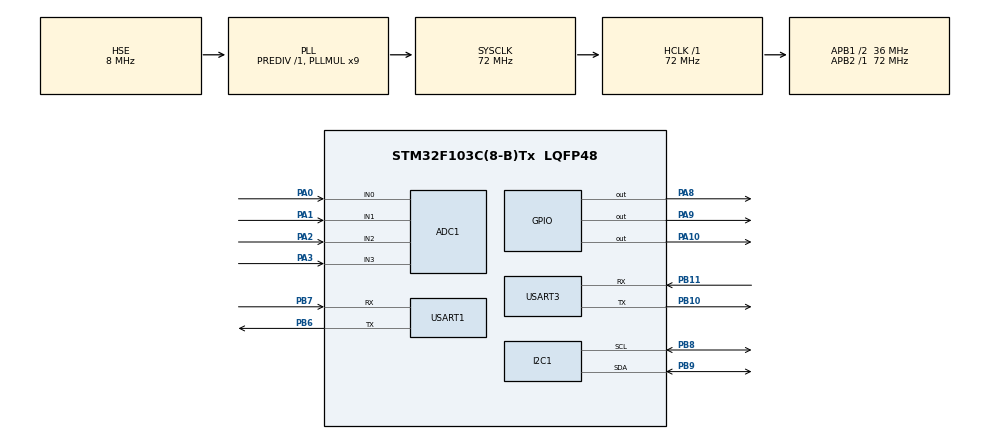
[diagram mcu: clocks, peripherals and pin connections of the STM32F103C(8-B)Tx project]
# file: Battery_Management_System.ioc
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ADC1.Channel-10\#ChannelRegularConversion=ADC_CHANNEL_1
ADC1.Channel-11\#ChannelRegularConversion=ADC_CHANNEL_2
ADC1.Channel-12\#ChannelRegularConversion=ADC_CHANNEL_3
ADC1.Channel-9\#ChannelRegularConversion=ADC_CHANNEL_0
ADC1.NbrOfConversion=4
ADC1.NbrOfConversionFlag=1
ADC1.Rank-10\#ChannelRegularConversion=2
ADC1.Rank-11\#ChannelRegularConversion=3
ADC1.Rank-12\#ChannelRegularConversion=4
ADC1.Rank-9\#ChannelRegularConversion=1
ADC1.SamplingTime-10\#ChannelRegularConversion=ADC_SAMPLETIME_13CYCLES_5
ADC1.SamplingTime-11\#ChannelRegularConversion=ADC_SAMPLETIME_13CYCLES_5
ADC1.SamplingTime-12\#ChannelRegularConversion=ADC_SAMPLETIME_13CYCLES_5
ADC1.SamplingTime-9\#ChannelRegularConversion=ADC_SAMPLETIME_13CYCLES_5
ADC1.master=1
Dma.ADC1.0.Direction=DMA_PERIPH_TO_MEMORY
Dma.ADC1.0.Instance=DMA1_Channel1
Dma.ADC1.0.MemDataAlignment=DMA_MDATAALIGN_WORD
Dma.ADC1.0.MemInc=DMA_MINC_ENABLE
Dma.ADC1.0.Mode=DMA_CIRCULAR
Dma.ADC1.0.PeriphDataAlignment=DMA_PDATAALIGN_WORD
Dma.ADC1.0.PeriphInc=DMA_PINC_DISABLE
Dma.ADC1.0.Priority=DMA_PRIORITY_LOW
Dma.Request0=ADC1
FREERTOS.Queues01=myQueue01,16,uint32_t,0,Dynamic,NULL,NULL;myQueue02,16,uint16_t,0,Dynamic,NULL,NULL
FREERTOS.Tasks01=readADC_Task,0,128,StartDefaultTask,Default,NULL,Dynamic,NULL,NULL;display_Task,0,128,StartTask02,Default,NULL,Dynamic,NULL,NULL;ctrlBMS_Task,0,128,StartTask03,Default,NULL,Dynamic,NULL,NULL;comUART_Task,0,128,StartTask04,Default,NULL,Dynamic,NULL,NULL
FREERTOS.configUSE_NEWLIB_REENTRANT=1
Mcu.Family=STM32F1
Mcu.Name=STM32F103C(8-B)Tx
Mcu.Package=LQFP48
NVIC.DMA1_Channel1_IRQn=true\:5\:0\:false\:false\:true\:true\:false\:true\:true
NVIC.PriorityGroup=NVIC_PRIORITYGROUP_4
PA0-WKUP.Signal=ADCx_IN0
PA1.Signal=ADCx_IN1
PA10.Signal=GPIO_Output
PA13.Mode=Serial_Wire
PA13.Signal=SYS_JTMS-SWDIO
PA14.Mode=Serial_Wire
PA14.Signal=SYS_JTCK-SWCLK
PA2.Signal=ADCx_IN2
PA3.Signal=ADCx_IN3
PA8.Signal=GPIO_Output
PA9.Signal=GPIO_Output
PB10.Mode=Asynchronous
PB10.Signal=USART3_TX
PB11.Mode=Asynchronous
PB11.Signal=USART3_RX
PB6.Mode=Asynchronous
PB6.Signal=USART1_TX
PB7.Mode=Asynchronous
PB7.Signal=USART1_RX
PB8.Mode=I2C
PB8.Signal=I2C1_SCL
PB9.Mode=I2C
PB9.Signal=I2C1_SDA
PD0-OSC_IN.Mode=HSE-External-Oscillator
PD0-OSC_IN.Signal=RCC_OSC_IN
PD1-OSC_OUT.Mode=HSE-External-Oscillator
PD1-OSC_OUT.Signal=RCC_OSC_OUT
ProjectManager.HeapSize=0x200
ProjectManager.StackSize=0x400
ProjectManager.TargetToolchain=STM32CubeIDE
RCC.ADCPresc=RCC_ADCPCLK2_DIV6
RCC.AHBFreq_Value=72000000
RCC.APB1CLKDivider=RCC_HCLK_DIV2
RCC.APB1Freq_Value=36000000
RCC.APB1TimFreq_Value=72000000
RCC.APB2Freq_Value=72000000
RCC.APB2TimFreq_Value=72000000
RCC.HCLKFreq_Value=72000000
RCC.PLLMUL=RCC_PLL_MUL9
RCC.PLLSourceVirtual=RCC_PLLSOURCE_HSE
RCC.SYSCLKFreq_VALUE=72000000
RCC.SYSCLKSource=RCC_SYSCLKSOURCE_PLLCLK
RCC.USBFreq_Value=72000000
SH.ADCx_IN0.0=ADC1_IN0,IN0
SH.ADCx_IN1.0=ADC1_IN1,IN1
SH.ADCx_IN2.0=ADC1_IN2,IN2
SH.ADCx_IN3.0=ADC1_IN3,IN3
USART1.VirtualMode=VM_ASYNC
USART3.VirtualMode=VM_ASYNC
VP_FREERTOS_VS_CMSIS_V1.Mode=CMSIS_V1
board=custom

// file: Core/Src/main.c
/* USER CODE BEGIN Header */
/**
  ******************************************************************************
  * @file           : main.c
  * @brief          : Main program body
  ******************************************************************************
  * @attention
  *
  * Copyright (c) 2024 STMicroelectronics.
  * All rights reserved.
  *
  * This software is licensed under terms that can be found in the LICENSE file
  * in the root directory of this software component.
  * If no LICENSE file comes with this software, it is provided AS-IS.
  *
  ******************************************************************************
  */
/* USER CODE END Header */
#include "main.h"
#include "cmsis_os.h"

/* USER CODE BEGIN Includes */
#include <stdio.h>
#include "ssd1306.h"
#include <ssd1306_fonts.h>
#include <stdbool.h>
#include <stdlib.h>
#include <string.h>
/* USER CODE END Includes */

/* USER CODE BEGIN PD */
#define MAX_LENGTH_BFF 4
/* USER CODE END PD */

ADC_HandleTypeDef hadc1;
DMA_HandleTypeDef hdma_adc1;

I2C_HandleTypeDef hi2c1;

UART_HandleTypeDef huart1;
UART_HandleTypeDef huart3;

osThreadId readADC_TaskHandle;
osThreadId display_TaskHandle;
osThreadId ctrlBMS_TaskHandle;
osThreadId comUART_TaskHandle;
osMessageQId myQueue01Handle;
osMessageQId myQueue02Handle;
/* USER CODE BEGIN PV */

int i = 0;
float x;
char xBff[MAX_LENGTH_BFF];
float scaleValue[4];
uint32_t ADC_Value[4];

float ratio_VSS = 0.1885964912;
float ratio_VSI = 0.5;

char charValue_1[MAX_LENGTH_BFF];
char charValue_2[MAX_LENGTH_BFF];
char charValue_3[MAX_LENGTH_BFF];
char charValue_4[MAX_LENGTH_BFF];
/* USER CODE END PV */

void SystemClock_Config(void);
static void MX_GPIO_Init(void);
static void MX_DMA_Init(void);
static void MX_ADC1_Init(void);
static void MX_I2C1_Init(void);
static void MX_USART1_UART_Init(void);
static void MX_USART3_UART_Init(void);
void StartDefaultTask(void const * argument);
void StartTask02(void const * argument);
void StartTask03(void const * argument);
void StartTask04(void const * argument);

int main(void)
{

  /* MCU Configuration--------------------------------------------------------*/

  /* Reset of all peripherals, Initializes the Flash interface and the Systick. */
  HAL_Init();

  /* Configure the system clock */
  SystemClock_Config();

  /* Initialize all configured peripherals */
  MX_GPIO_Init();
  MX_DMA_Init();
  MX_ADC1_Init();
  MX_I2C1_Init();
  MX_USART1_UART_Init();
  MX_USART3_UART_Init();
  /* USER CODE BEGIN 2 */
  ssd1306_Init();
  /* USER CODE END 2 */

  /* Create the queue(s) */
  /* definition and creation of myQueue01 */
  osMessageQDef(myQueue01, 16, uint32_t);
  myQueue01Handle = osMessageCreate(osMessageQ(myQueue01), NULL);

  /* definition and creation of myQueue02 */
  osMessageQDef(myQueue02, 16, uint16_t);
  myQueue02Handle = osMessageCreate(osMessageQ(myQueue02), NULL);

  /* Create the thread(s) */
  /* definition and creation of readADC_Task */
  osThreadDef(readADC_Task, StartDefaultTask, osPriorityNormal, 0, 128);
  readADC_TaskHandle = osThreadCreate(osThread(readADC_Task), NULL);

  /* definition and creation of display_Task */
  osThreadDef(display_Task, StartTask02, osPriorityNormal, 0, 128);
  display_TaskHandle = osThreadCreate(osThread(display_Task), NULL);

  /* definition and creation of ctrlBMS_Task */
  osThreadDef(ctrlBMS_Task, StartTask03, osPriorityNormal, 0, 128);
  ctrlBMS_TaskHandle = osThreadCreate(osThread(ctrlBMS_Task), NULL);

  /* definition and creation of comUART_Task */
  osThreadDef(comUART_Task, StartTask04, osPriorityNormal, 0, 128);
  comUART_TaskHandle = osThreadCreate(osThread(comUART_Task), NULL);

  /* Start scheduler */
  osKernelStart();

  /* We should never get here as control is now taken by the scheduler */

  /* Infinite loop */
  while (1)
  {

  }
}

void SystemClock_Config(void)
{
  RCC_OscInitTypeDef RCC_OscInitStruct = {0};
  RCC_ClkInitTypeDef RCC_ClkInitStruct = {0};
  RCC_PeriphCLKInitTypeDef PeriphClkInit = {0};

  /** Initializes the RCC Oscillators according to the specified parameters
  * in the RCC_OscInitTypeDef structure.
  */
  RCC_OscInitStruct.OscillatorType = RCC_OSCILLATORTYPE_HSE;
  RCC_OscInitStruct.HSEState = RCC_HSE_ON;
  RCC_OscInitStruct.HSEPredivValue = RCC_HSE_PREDIV_DIV1;
  RCC_OscInitStruct.HSIState = RCC_HSI_ON;
  RCC_OscInitStruct.PLL.PLLState = RCC_PLL_ON;
  RCC_OscInitStruct.PLL.PLLSource = RCC_PLLSOURCE_HSE;
  RCC_OscInitStruct.PLL.PLLMUL = RCC_PLL_MUL9;
  if (HAL_RCC_OscConfig(&RCC_OscInitStruct) != HAL_OK)
  {
    Error_Handler();
  }

  /** Initializes the CPU, AHB and APB buses clocks
  */
  RCC_ClkInitStruct.ClockType = RCC_CLOCKTYPE_HCLK|RCC_CLOCKTYPE_SYSCLK
                              |RCC_CLOCKTYPE_PCLK1|RCC_CLOCKTYPE_PCLK2;
  RCC_ClkInitStruct.SYSCLKSource = RCC_SYSCLKSOURCE_PLLCLK;
  RCC_ClkInitStruct.AHBCLKDivider = RCC_SYSCLK_DIV1;
  RCC_ClkInitStruct.APB1CLKDivider = RCC_HCLK_DIV2;
  RCC_ClkInitStruct.APB2CLKDivider = RCC_HCLK_DIV1;

  if (HAL_RCC_ClockConfig(&RCC_ClkInitStruct, FLASH_LATENCY_2) != HAL_OK)
  {
    Error_Handler();
  }
  PeriphClkInit.PeriphClockSelection = RCC_PERIPHCLK_ADC;
  PeriphClkInit.AdcClockSelection = RCC_ADCPCLK2_DIV6;
  if (HAL_RCCEx_PeriphCLKConfig(&PeriphClkInit) != HAL_OK)
  {
    Error_Handler();
  }
}

static void MX_ADC1_Init(void)
{

  ADC_ChannelConfTypeDef sConfig = {0};

  /** Common config
  */
  hadc1.Instance = ADC1;
  hadc1.Init.ScanConvMode = ADC_SCAN_ENABLE;
  hadc1.Init.ContinuousConvMode = DISABLE;
  hadc1.Init.DiscontinuousConvMode = DISABLE;
  hadc1.Init.ExternalTrigConv = ADC_SOFTWARE_START;
  hadc1.Init.DataAlign = ADC_DATAALIGN_RIGHT;
  hadc1.Init.NbrOfConversion = 4;
  if (HAL_ADC_Init(&hadc1) != HAL_OK)
  {
    Error_Handler();
  }

  /** Configure Regular Channel
  */
  sConfig.Channel = ADC_CHANNEL_0;
  sConfig.Rank = ADC_REGULAR_RANK_1;
  sConfig.SamplingTime = ADC_SAMPLETIME_13CYCLES_5;
  if (HAL_ADC_ConfigChannel(&hadc1, &sConfig) != HAL_OK)
  {
    Error_Handler();
  }

  /** Configure Regular Channel
  */
  sConfig.Channel = ADC_CHANNEL_1;
  sConfig.Rank = ADC_REGULAR_RANK_2;
  if (HAL_ADC_ConfigChannel(&hadc1, &sConfig) != HAL_OK)
  {
    Error_Handler();
  }

  /** Configure Regular Channel
  */
  sConfig.Channel = ADC_CHANNEL_2;
  sConfig.Rank = ADC_REGULAR_RANK_3;
  if (HAL_ADC_ConfigChannel(&hadc1, &sConfig) != HAL_OK)
  {
    Error_Handler();
  }

  /** Configure Regular Channel
  */
  sConfig.Channel = ADC_CHANNEL_3;
  sConfig.Rank = ADC_REGULAR_RANK_4;
  if (HAL_ADC_ConfigChannel(&hadc1, &sConfig) != HAL_OK)
  {
    Error_Handler();
  }

}

static void MX_I2C1_Init(void)
{

  hi2c1.Instance = I2C1;
  hi2c1.Init.ClockSpeed = 100000;
  hi2c1.Init.DutyCycle = I2C_DUTYCYCLE_2;
  hi2c1.Init.OwnAddress1 = 0;
  hi2c1.Init.AddressingMode = I2C_ADDRESSINGMODE_7BIT;
  hi2c1.Init.DualAddressMode = I2C_DUALADDRESS_DISABLE;
  hi2c1.Init.OwnAddress2 = 0;
  hi2c1.Init.GeneralCallMode = I2C_GENERALCALL_DISABLE;
  hi2c1.Init.NoStretchMode = I2C_NOSTRETCH_DISABLE;
  if (HAL_I2C_Init(&hi2c1) != HAL_OK)
  {
    Error_Handler();
  }

}

static void MX_USART1_UART_Init(void)
{

  huart1.Instance = USART1;
  huart1.Init.BaudRate = 115200;
  huart1.Init.WordLength = UART_WORDLENGTH_8B;
  huart1.Init.StopBits = UART_STOPBITS_1;
  huart1.Init.Parity = UART_PARITY_NONE;
  huart1.Init.Mode = UART_MODE_TX_RX;
  huart1.Init.HwFlowCtl = UART_HWCONTROL_NONE;
  huart1.Init.OverSampling = UART_OVERSAMPLING_16;
  if (HAL_UART_Init(&huart1) != HAL_OK)
  {
    Error_Handler();
  }

}

static void MX_USART3_UART_Init(void)
{

  huart3.Instance = USART3;
  huart3.Init.BaudRate = 115200;
  huart3.Init.WordLength = UART_WORDLENGTH_8B;
  huart3.Init.StopBits = UART_STOPBITS_1;
  huart3.Init.Parity = UART_PARITY_NONE;
  huart3.Init.Mode = UART_MODE_TX_RX;
  huart3.Init.HwFlowCtl = UART_HWCONTROL_NONE;
  huart3.Init.OverSampling = UART_OVERSAMPLING_16;
  if (HAL_UART_Init(&huart3) != HAL_OK)
  {
    Error_Handler();
  }

}

static void MX_DMA_Init(void)
{

  /* DMA controller clock enable */
  __HAL_RCC_DMA1_CLK_ENABLE();

  /* DMA interrupt init */
  /* DMA1_Channel1_IRQn interrupt configuration */
  HAL_NVIC_SetPriority(DMA1_Channel1_IRQn, 5, 0);
  HAL_NVIC_EnableIRQ(DMA1_Channel1_IRQn);

}

static void MX_GPIO_Init(void)
{
  GPIO_InitTypeDef GPIO_InitStruct = {0};

  /* GPIO Ports Clock Enable */
  __HAL_RCC_GPIOD_CLK_ENABLE();
  __HAL_RCC_GPIOA_CLK_ENABLE();
  __HAL_RCC_GPIOB_CLK_ENABLE();

  /*Configure GPIO pin Output Level */
  HAL_GPIO_WritePin(GPIOA, GPIO_PIN_8|GPIO_PIN_9|GPIO_PIN_10, GPIO_PIN_RESET);

  /*Configure GPIO pins : PA8 PA9 PA10 */
  GPIO_InitStruct.Pin = GPIO_PIN_8|GPIO_PIN_9|GPIO_PIN_10;
  GPIO_InitStruct.Mode = GPIO_MODE_OUTPUT_PP;
  GPIO_InitStruct.Pull = GPIO_NOPULL;
  GPIO_InitStruct.Speed = GPIO_SPEED_FREQ_LOW;
  HAL_GPIO_Init(GPIOA, &GPIO_InitStruct);

}

/* USER CODE BEGIN 4 */
void initBff(char* bff, int len){
	for(int i = 0; i < len; i++){
		*bff = '\0';
		bff++;
	}
}
void cleanBff(char* bff, int len){
	for(int i = 0; i < len; i++){
		if(*bff == '\0'){
			*bff = ' ';
		}
		bff++;
	}
}
/* USER CODE END 4 */

void StartDefaultTask(void const * argument)
{
  /* USER CODE BEGIN 5 */
  /* Infinite loop */

  for(;;)
  {
	  HAL_ADC_Start_DMA(&hadc1, ADC_Value, 4);
	  xQueueSend(myQueue01Handle, &ADC_Value, portMAX_DELAY);
	  osDelay(200);
  }
  /* USER CODE END 5 */
}

void StartTask02(void const * argument)
{
  /* USER CODE BEGIN StartTask02 */
  /* Infinite loop */
//	uint32_t ADC_Value[4];

  for(;;)
  {
	  if(xQueueReceive(myQueue01Handle, &ADC_Value, portMAX_DELAY) == pdPASS){
		  for(int i = 0; i < 4; i++){
//			  scaleValue[i] = (float)(0.1966808511 + 0.9510638298*ADC_Value[i]*3.3/4040);
			  scaleValue[i] = (float)(ADC_Value[i]*3.3/4040);
		  }

		  initBff(charValue_1, MAX_LENGTH_BFF);
		  initBff(charValue_2, MAX_LENGTH_BFF);
		  initBff(charValue_3, MAX_LENGTH_BFF);
		  initBff(charValue_4, MAX_LENGTH_BFF);

		  gcvt((float)(scaleValue[0]/ratio_VSS), MAX_LENGTH_BFF, charValue_1);
		  gcvt((float)(scaleValue[1]/ratio_VSI), MAX_LENGTH_BFF, charValue_2);
		  gcvt(scaleValue[2], MAX_LENGTH_BFF, charValue_3);
		  gcvt(scaleValue[3], MAX_LENGTH_BFF, charValue_4);

		  displayOLED("21", charValue_1, charValue_2, charValue_3, charValue_4);
		  xQueueReset(myQueue01Handle);
	  }
		osDelay(10);
  }
  /* USER CODE END StartTask02 */
}

void StartTask03(void const * argument)
{
  for(;;)
  {
    osDelay(1);
  }
}

void StartTask04(void const * argument)
{
  for(;;)
  {
    osDelay(1);
  }
}

void Error_Handler(void)
{
  __disable_irq();
  while (1)
  {
  }
}
